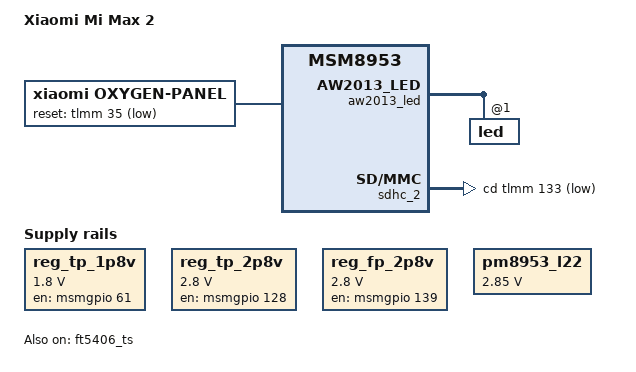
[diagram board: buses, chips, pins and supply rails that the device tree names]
// SPDX-License-Identifier: BSD-3-Clause
/dts-v1/;

#include "msm8953-xiaomi-common.dtsi"

/delete-node/ &cont_splash_mem;
/delete-node/ &qseecom_mem;

/ {
	model = "Xiaomi Mi Max 2";
	compatible = "xiaomi,oxygen", "qcom,msm8953";
	qcom,board-id= <26 0>;

	aliases {
		mmc0 = &sdhc_1;
		mmc1 = &sdhc_2;
	};

	
	chosen {
		#address-cells = <2>;
		#size-cells = <2>;
		ranges;

		framebuffer@90001000 {
			compatible = "simple-framebuffer";
			reg = <0 0x90001000 0 (1920 * 1080 * 3)>;

			width = <1080>;
			height = <1920>;
			stride = <(1080 * 3)>;
			format = "r8g8b8";

			power-domains = <&gcc MDSS_GDSC>;

			clocks = <&gcc GCC_MDSS_AHB_CLK>,
				 <&gcc GCC_MDSS_AXI_CLK>,
				 <&gcc GCC_MDSS_VSYNC_CLK>,
				 <&gcc GCC_MDSS_MDP_CLK>,
				 <&gcc GCC_MDSS_BYTE0_CLK>,
				 <&gcc GCC_MDSS_PCLK0_CLK>,
				 <&gcc GCC_MDSS_ESC0_CLK>;
		};
	};
//todo 
	reserved-memory {
		qseecom_mem: qseecom@84a00000 {
			reg = <0x0 0x84a00000 0x0 0x1e00000>;
			no-map;
		};
		
		adsp_fw_mem: adsp@8d600000 {
			reg = <0x0 0x8d600000 0x0 0x1200000>;
			no-map;
		};

		wcnss_fw_mem: wcnss@8e800000 {
			reg = <0x0 0x8e800000 0x0 0x700000>;
			no-map;
		};
		cont_splash_mem: cont-splash@90001000 {
			reg = <0x0 0x90001000 0x0 (1080 * 1920 * 3)>;
			no-map;
		};

		ramoops@9ff00000 {
			compatible = "ramoops";
			reg = <0x0 0x9ff00000 0x0 0x00100000>;
			console-size = <0x100000>;
		};
	};
	
	reg_tp_1p8v: regulator-tp-1p8v {
		compatible = "regulator-fixed";
		regulator-name = "tp_1p8v";
		regulator-min-microvolt = <1800000>;
		regulator-max-microvolt = <1800000>;

		gpio = <&msmgpio 61 GPIO_ACTIVE_HIGH>;
		
		startup-delay-us = <5000>;
		enable-active-high;
	};
	
	reg_tp_2p8v: regulator-tp-1p8v {
		compatible = "regulator-fixed";
		regulator-name = "tp_2p8v";
		regulator-min-microvolt = <2800000>;
		regulator-max-microvolt = <2800000>;

		gpio = <&msmgpio 128 GPIO_ACTIVE_HIGH>;
		
		startup-delay-us = <5000>;
		enable-active-high;
	};
	
	reg_fp_2p8v: regulator-fp-2p8v {
	
		compatible = "regulator-fixed";
		regulator-name = "fp_2p8v";
		regulator-min-microvolt = <2800000>;
		regulator-max-microvolt = <2800000>;

		gpio = <&msmgpio 139 GPIO_ACTIVE_HIGH>;
		enable-active-high;

	}
};

&panel
{
	reset-gpios = <&tlmm 35 GPIO_ACTIVE_LOW>;
};

&pmx_mdss_default {
	pins = "gpio35";
};

&pmx_mdss_sleep {
	pins = "gpio35";
};

&aw2013_led {
	status = "okay";

	led@1 {
		reg = <1>;
		color = <LED_COLOR_ID_WHITE>;
		function = LED_FUNCTION_KBD_BACKLIGHT;
		led-max-microamp = <5000>;
	};

};

&pm8953_l22 {
	regulator-min-microvolt = <2850000>;
};

&ft5406_ts {
	status = "okay";
	
	iovcc-supply = <&reg_tp_1p8v>;
	vcc-supply = <&reg_tp_2p8v>;
		
	touchscreen-size-x = <1080>;
	touchscreen-size-y = <1920>;

};

&sdhc_2 {
	cd-gpios = <&tlmm 133 GPIO_ACTIVE_LOW>;
};

&tlmm {
	gpio-reserved-ranges = <0 4>, <135 4>;
};

&panel {
	compatible = "xiaomi,oxygen-panel";
};
